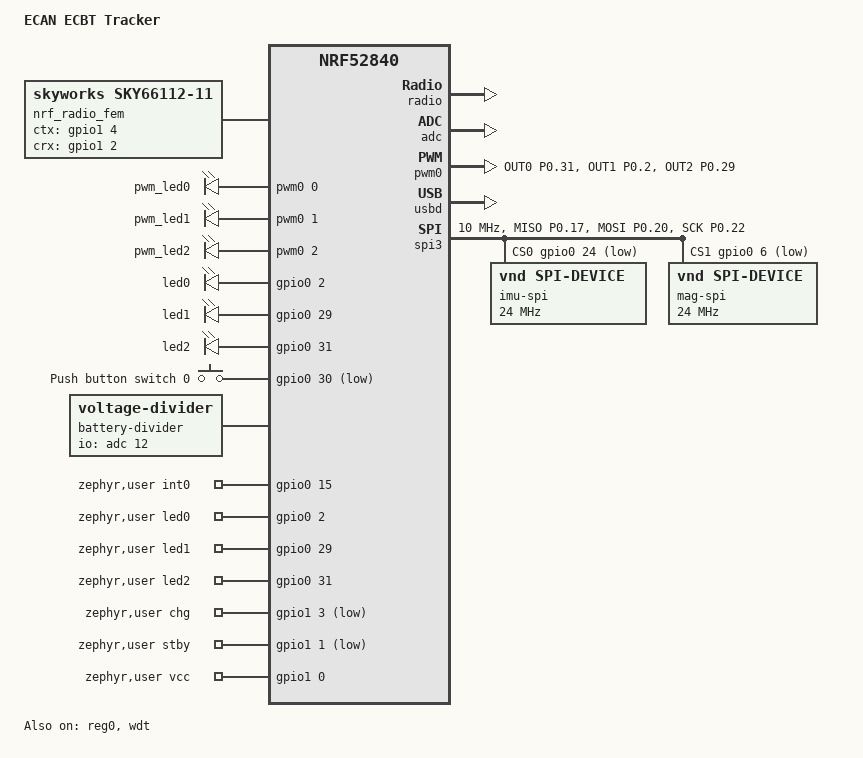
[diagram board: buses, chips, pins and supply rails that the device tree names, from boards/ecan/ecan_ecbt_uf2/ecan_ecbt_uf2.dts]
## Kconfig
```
#
# Copyright (c) 2023 Nordic Semiconductor
#
# SPDX-License-Identifier: LicenseRef-Nordic-5-Clause
#

config USE_SLIMENRF_CONSOLE
    bool "Use basic console"
    default y
    help
        Use basic console for commands.

choice
	prompt "Battery voltage mapping"
    default BATTERY_USE_REG_LDO_MAPPING

config BATTERY_USE_REG_BUCK_MAPPING
    bool "Use buck regulator mapping (3.7V battery, DCDC)"
    help
      Use a constant power mapping for battery voltage.
      Preffered for systems with a buck regulator.
      Measured at a system voltage of 3.0V.

config BATTERY_USE_REG_LDO_MAPPING
    bool "Use LDO linear regulator mapping (3.7V battery, LDO)"
    help
      Use a constant current mapping for battery voltage.
      Preferred for systems with a linear regulator.

config BATTERY_NO_MAPPING
    bool "Disable battery voltage mapping"
    help
      Always map to 100% battery. Disables battery monitoring.

endchoice

choice
	prompt "Status LED color mapping"
    default LED_TRI_COLOR

config LED_RGB_COLOR
    bool "Use RGB color mapping"
    help
        Use RGB or RG color mapping for LED status if available.

config LED_TRI_COLOR
    bool "Use default color mapping"
    help
        Use the default color mapping for LED status.

endchoice

menu "Status LED default status color"
    depends on LED_RGB_COLOR

config LED_DEFAULT_COLOR_R
    int "Red value"
    range 0 10000
    default 4000
    depends on LED_RGB_COLOR
    help
        Red color for default status.
        Valid range is 0 to 10000.

config LED_DEFAULT_COLOR_G
    int "Green value"
    range 0 10000
    default 6000
    depends on LED_RGB_COLOR
    help
        Green color for default status.
        Valid range is 0 to 10000.

config LED_DEFAULT_COLOR_B
    int "Blue value"
    range 0 10000
    default 0
    depends on LED_RGB_COLOR
    help
        Blue color for default status.
        Valid range is 0 to 10000.

endmenu

config USER_EXTRA_ACTIONS
    bool "Multiple press actions"
    help
        Allow user to use multiple presses to calibrate, pair, or enter DFU.
        When enabled, sw0 long-hold pairing reset is disabled; use the
        multiple-press pairing action instead.
        By default, DFU is available when holding down sw0 and plugging in a USB cable.

config IGNORE_RESET
    bool "Ignore reset"
    default y
    help
        If sw0 is available, don't perform any extra actions on reset.

config USER_SHUTDOWN
    bool "User shutdown support"
    default y
    help
        Allow user to use reset or sw0 to shutdown.

config IGNORE_CHARGE_WAKE_ON_VBUS
    bool "Ignore charge wake on VBUS"
    default n
    depends on USER_SHUTDOWN
    help
        When VBUS is present, do not configure charge status pins as wake
        sources during system shutdown. This keeps charge state transitions
        from waking the device while USB power is already connected.

config USE_IMU_WAKE_UP
    bool "IMU wake up support"
    default n
    help
        Use IMU wake up state if IMU wake up is present.

config DELAY_SLEEP_ON_STATUS
    bool "Delay IMU wake up mode on status flags"
    default y
    depends on USE_IMU_WAKE_UP
    help
        Delay IMU wake up state if there is an active status flag or in pairing mode.

config WOM_USE_DCDC
    bool "Use DCDC in IMU wake up mode"
    depends on USE_IMU_WAKE_UP
    help
        Use DCDC instead of LDO in IMU wake up state if it is more efficient.

config CONNECTION_TIMEOUT_DELAY
    int "Connection timeout delay (ms)"
    default 300000
    depends on USER_SHUTDOWN
    help
        Connection timeout duration when receiver is not detected.

choice
    prompt "Sensor rotation"
    default SENSOR_ROTATION_90

config SENSOR_ROTATION_0
    bool "0 degrees"

config SENSOR_ROTATION_90
    bool "90 degrees"

config SENSOR_ROTATION_180
    bool "180 degrees"

config SENSOR_ROTATION_270
    bool "270 degrees"

config SENSOR_ROTATION_0_FLIPPED
    bool "0 degrees flipped"

config SENSOR_ROTATION_90_FLIPPED
    bool "90 degrees flipped"

config SENSOR_ROTATION_180_FLIPPED
    bool "180 degrees flipped"

config SENSOR_ROTATION_270_FLIPPED
    bool "270 degrees flipped"

endchoice

menu "Sensor power saving"

config SENSOR_LP_TIMEOUT
    int "Sensor low power delay (ms)"
    default 500
    help
        Low power timeout during no motion.

config SENSOR_USE_LOW_POWER_2
    bool "Use additional low power modes"
    help
        Use a higher latency sensor mode during no motion.

config USE_IMU_TIMEOUT
    bool "Use IMU wake up state"
    default y
    depends on USE_IMU_WAKE_UP
    help
        Use IMU wake up state during no motion.

config IMU_TIMEOUT_RAMP_MIN
    int "Sensor timeout minimum delay (ms)"
    default 5000
    depends on USE_IMU_TIMEOUT || SENSOR_USE_LOW_POWER_2
    help
        Minimum timeout during no motion. Initial period on wake up.

config IMU_TIMEOUT_RAMP_MAX
    int "Sensor timeout maximum delay (ms)"
    default 15000
    depends on USE_IMU_TIMEOUT || SENSOR_USE_LOW_POWER_2
    help
        Maximum timeout during no motion.

config USE_ACTIVE_TIMEOUT
    bool "Use activity timeout"
    default y
    depends on USE_IMU_WAKE_UP || USER_SHUTDOWN
    help
        Delay IMU wake up state or user shutdown during activity.

choice
    prompt "Activity timeout mode"
    default SLEEP_ON_ACTIVE_TIMEOUT
    depends on USE_ACTIVE_TIMEOUT

config SLEEP_ON_ACTIVE_TIMEOUT
    bool "IMU wake up"
    depends on USE_IMU_WAKE_UP
    help
        Use IMU wake up state when activity timeout elapses.

config SHUTDOWN_ON_ACTIVE_TIMEOUT
    bool "User shutdown"
    depends on USER_SHUTDOWN
    help
        Use user shutdown when activity timeout elapses.

endchoice

config ACTIVE_TIMEOUT_THRESHOLD
    int "Activity timeout threshold (ms)"
    default 15000
    depends on USE_ACTIVE_TIMEOUT
    help
        Trigger activity timeout after a certain threshold of activity.

config ACTIVE_TIMEOUT_DELAY
    int "Activity timeout delay (ms)"
    default 1800000
    depends on USE_ACTIVE_TIMEOUT
    help
        Activity timeout duration when triggered.

config DISABLE_SENSOR_GPIOS_ON_SHUTDOWN
    bool "Disable Sensor GPIOs on shutdown"
    default y
    help
        Disable all sensor related GPIOs when system shutdown.
        May reduce power consumption.

endmenu

config SENSOR_ACCEL_ODR
    int "Accelerometer output data rate (Hz)"
    default 100
    help
        Requested accelerometer output data rate. Actual rate will be raised to the nearest supported rate.
        A higher rate will increase the time to read and process sensor data.

config SENSOR_GYRO_ODR
    int "Gyrometer output data rate (Hz)"
    default 200
    help
        Requested gyrometer output data rate. Actual rate will be raised to the nearest supported rate.
        A higher rate will increase the time to read and process sensor data.
        A lower rate is recommended for IMUs with poor gyrometer rate noise density. (Ex. BMI270, LSM6DS3TR-C)

config SENSOR_GYRO_OVERSAMPLING
    int "Gyroscope oversampling factor"
    default 1
    range 1 16
    help
        Number of gyroscope samples to average before fusion.
        Set to 1 to disable oversampling.
        For example, set SENSOR_GYRO_ODR=1600 and SENSOR_GYRO_OVERSAMPLING=4
        to achieve effective 400Hz with noise reduction from 4x oversampling.
        The effective gyro rate for fusion will be ODR / oversampling factor.

config SENSOR_ACCEL_OVERSAMPLING
    int "Accelerometer oversampling factor"
    default 1
    range 1 16
    help
        Number of accelerometer samples to average before fusion.
        Set to 1 to disable oversampling.
        For example, set SENSOR_ACCEL_ODR=1000 and SENSOR_ACCEL_OVERSAMPLING=10
        to achieve effective 100Hz with noise reduction from 10x oversampling.
        The effective accel rate for fusion will be ODR / oversampling factor.

config SENSOR_ACCEL_FS
    int "Accelerometer full scale (g)"
    default 16
    help
        Requested accelerometer full scale. Actual scale will be raised to the nearest supported scale.
        A lower scale may improve noise performance, but is more likely to saturate.

config SENSOR_GYRO_FS
    int "Gyrometer full scale (dps)"
    default 4000
    help
        Requested gyrometer full scale. Actual scale will be raised to the nearest supported scale.
        A lower scale may improve noise performance, but is more likely to saturate.

config SENSOR_MAG_ODR
    int "Magnetometer ODR (Hz)"
    default 200
    help
        Requested magnetometer output data rate in Hz.
        Common values: 100, 200. Higher rates may not be supported by all sensors.

config SENSOR_MAG_FIXED_ODR
    bool "Use fixed magnetometer ODR"
    default y
    help
        If enabled, use a fixed magnetometer ODR instead of dynamic adjustment.
        This ensures VQF fusion receives consistent timing information.
        When disabled, ODR is dynamically adjusted based on gyroscope speed.

choice
	prompt "Sensor fusion"
    default SENSOR_USE_VQF
    help
        Select the sensor fusion method.

config SENSOR_USE_VQF
    bool "Use VQF"
    help
        Use VQF for sensor fusion.
        Based on Kalman filter.

config SENSOR_USE_EQF
    bool "Use EqF"
    help
        Use ABC-EqF n=0 (Equivariant Filter) for sensor fusion.
        Kalman filter on SO(3)×R³ with constant magnetometer trust.
        Lower heading drift than VQF under low magnetic disturbance,
        but does not perform as well as the VQF on 6D.

endchoice

config VQF_ADAPTIVE_TAU_ACC
    bool "VQF adaptive tauAcc (experimental)"
    default n
    depends on SENSOR_USE_VQF
    help
        Enable adaptive tauAcc adjustment based on motion intensity.
        Uses a three-regime strategy (rest / gentle / aggressive) with
        smoothed transitions to avoid Butterworth LP filter transients.
        This feature is experimental and may affect heading stability.

config VQF_BENCH
    bool "Enable VQF benchmark console command"
    default n
    depends on SENSOR_USE_VQF && USE_SLIMENRF_CONSOLE
    help
        Compile in the `vqfbench` console command and its benchmark working
        storage. Keep this disabled for normal firmware builds to avoid the
        extra RAM cost from static benchmark buffers.

config SENSOR_USE_6_SIDE_CALIBRATION
    bool "Use 6-side calibration"
    default y
    depends on USE_SLIMENRF_CONSOLE
    help
        Use 6-side calibration for accelerometer.
        Calibration can be completed through the basic console.

config SENSOR_USE_SENS_CALIBRATION
    bool "Use gyro sensitivity calibration"
    default y
    depends on USE_SLIMENRF_CONSOLE
    help
        Use sensitivity calibration for gyroscope.
        There are two ways to calibrate from the console:
        - Manual: rotate the tracker a number of times around each axis, note the
          resulting yaw drift in degrees, and enter the three observed values with
          'sens <x>,<y>,<z>'.
        - Automated: run 'sens auto <x|y|z> [revolutions]' and spin the tracker the
          requested number of full turns about one axis; the firmware integrates the
          gyro rate and computes the scale factor for that axis automatically.

config SENSOR_SENS_REV
    int "Number of rotations (rev)"
    default 2
    depends on SENSOR_USE_SENS_CALIBRATION
    help
       Number of rotations used in calculating sensitivity calibration.

config SENSOR_USE_TCAL
    bool "Enable temperature calibration (T-Cal)"
    default y
    help
        Enable temperature calibration (T-Cal) support.
        This controls whether the firmware collects/uses temperature-related
        calibration data to compensate gyroscope bias drift.

menu "Temperature Calibration Settings"
depends on SENSOR_USE_TCAL

config SENSOR_POLY_DEGREE
    int "Polynomial degree"
    default 3
    help
        The degree of the polynomial to fit (e.g., 3 for a cubic curve).

config SENSOR_POLY_TEMP_MIN
    int "Calibration minimum temperature (C)"
    default 10

config SENSOR_POLY_TEMP_MAX
    int "Calibration maximum temperature (C)"
    default 45

config SENSOR_POLY_STEPS_PER_DEGREE
    int "Calibration steps per degree C"
    default 2
    help
        Enter the number of calibration points to take per degree Celsius.
        For 0.5 C steps, enter 2.
        For 1.0 C steps, enter 1.

config SENSOR_USE_BOOT_CALIBRATION
    bool "Enable automatic boot calibration"
    default n
    depends on SENSOR_USE_TCAL
    help
        Automatically perform boot calibration after device startup.
        When enabled, the device will measure gyroscope bias at boot time
        and calculate D_offset correction based on the temperature calibration
        curve. This helps compensate for run-to-run bias drift.
        Boot calibration occurs within 15-50 seconds after boot when the
        device is stationary and requires at least 4 temperature calibration
        points to be effective.

endmenu

config SENSOR_ONLINE_MAG_CAL
    bool "Enable online (background) magnetometer calibration"
    default y
    help
        Enable background/online magnetometer calibration that continuously
        refines the hard/soft-iron fit during normal operation.
        When disabled, only the manual 'mag cal' / 'calibrate' command is
        available; the online accumulator and background checks are inert.

config SENSOR_MAG_CAL_MIN_SAMPLES
    int "Manual magnetometer calibration minimum sample count"
    default 128
    range 32 4096
    help
        Minimum number of accepted samples before manual magnetometer
        calibration ('mag cal') can complete. Progress LED coverage uses
        this value as the denominator.
        Override per board in that board's *_defconfig (e.g.
        CONFIG_SENSOR_MAG_CAL_MIN_SAMPLES=256) or in the board Kconfig
        fragment with a board-specific default.

config RADIO_TX_POWER
    int "Radio output power (dBm)"
    default 8
    help
        Radio output power level.
        A lower value may reduce power consumption.

config RADIO_RF_CHANNEL
    int "Radio RF channel"
    default 2
    help
        Radio RF channel (0-100).
        Must match the receiver channel.

config RADIO_RETRANSMIT_DELAY
    int "Radio retransmit delay (µs)"
    default 600
    help
        Radio retransmit delay.

config CONNECTION_ENABLE_ACK
    bool "Enable connection ACK"
    default y
    help
        Enable connection ACK for reliable data transfer.

config CONNECTION_OVER_HID
    bool "Use HID for data output"
    depends on USB_DEVICE_STACK_NEXT && USBD_HID_SUPPORT && UART_CONSOLE
    default n
    help
        Use HID if available.
        Otherwise, use ESB only.

config SLIMEVR_USB_DEVICE_VID
    hex "SlimeVR USB vendor ID"
    default 0x1209
    help
        USB vendor ID used by the SlimeVR USBD_NEXT device.

config SLIMEVR_USB_DEVICE_PID
    hex "SlimeVR USB product ID"
    default 0x7692
    help
        USB product ID used by the SlimeVR tracker firmware.

config SLIMEVR_USB_DEVICE_MANUFACTURER
    string "SlimeVR USB manufacturer"
    default "SlimeVR"
    help
        USB manufacturer string and console banner prefix.

config SLIMEVR_USB_DEVICE_PRODUCT
    string "SlimeVR USB product"
    default "SlimeNRF Tracker"
    help
        USB product string and console banner name.

config SLIMEVR_USB_DEVICE_MAX_POWER
    int "SlimeVR USB max power"
    range 0 250
    default 100
    help
        USB bMaxPower value in 2 mA units.

config CLOCK_USE_LFXO
    bool "Use external low-frequency crystal oscillator (LFXO)"
    default y
    help
        Enable external 32.768 kHz crystal oscillator for LF clock.
        This provides better TDMA timing precision.

        Disable this option if your board does not have an external
        LFXO crystal. Using LFXO without a crystal will cause the
        system to hang or IMU detection to fail.

config CONNECTION_TDMA
    bool "Enable TDMA transmit scheduling"
    default n if !CLOCK_USE_LFXO
    default y if CLOCK_USE_LFXO
    help
        Enable Time Division Multiple Access scheduling for ESB radio.
        When enabled, each tracker transmits only within its assigned
        time slot to avoid collisions with other trackers.
        Requires server time synchronization via PING/PONG.
        Can also be toggled at runtime via console command.

config CLOCK_USE_LF_SYNTH
    bool "Use LF synthesizer for low-frequency clock"
    default y if CONNECTION_TDMA && !CLOCK_USE_LFXO
    default n
    help
        Use the LF synthesizer (derived from HFXO) for the low-frequency
        clock instead of LFXO or LFRC.

config CLOCK_CONTROL_NRF_K32SRC_RC_CALIBRATION
    bool "Enable RC oscillator calibration for K32SRC"
    default y if CLOCK_USE_LF_SYNTH && CONNECTION_TDMA
    default n

source "Kconfig.zephyr"
```

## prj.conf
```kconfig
#CONFIG_NCS_SAMPLES_DEFAULTS
CONFIG_ASSERT=y
CONFIG_ASSERT_NO_COND_INFO=y
CONFIG_ASSERT_NO_MSG_INFO=y
CONFIG_RESET_ON_FATAL_ERROR=y

CONFIG_NCS_APPLICATION_BOOT_BANNER_STRING="SlimeVR-Tracker-nRF"
#CONFIG_NCS_BOOT_BANNER=n
CONFIG_BOOT_BANNER=n

CONFIG_LTO=y
CONFIG_ISR_TABLES_LOCAL_DECLARATION=y

CONFIG_ESB=y
#need to enable for nRF54L
#CONFIG_NRFX_DPPI10=y

CONFIG_ADC=y
CONFIG_ADC_NRFX_SAADC=y
CONFIG_FPU=y

# CMSIS-DSP Configuration for VQF optimization
CONFIG_CMSIS_DSP=y
CONFIG_CMSIS_DSP_FASTMATH=y
CONFIG_CMSIS_DSP_BASICMATH=y
CONFIG_CMSIS_DSP_MATRIX=y
CONFIG_CMSIS_DSP_QUATERNIONMATH=y
CONFIG_CMSIS_DSP_SUPPORT=y
CONFIG_CMSIS_DSP_CONTROLLER=y
CONFIG_DSP=y

CONFIG_I2C=y
CONFIG_SPI=y
CONFIG_PINCTRL=y

CONFIG_NVS=y
CONFIG_NVS_LOOKUP_CACHE=y
CONFIG_NVS_INIT_BAD_MEMORY_REGION=y

CONFIG_POWEROFF=y
CONFIG_REBOOT=y

CONFIG_FLASH=y
CONFIG_FLASH_PAGE_LAYOUT=y
CONFIG_FLASH_MAP=y

CONFIG_SETTINGS=y
CONFIG_SETTINGS_RUNTIME=y
CONFIG_SETTINGS_NONE=y

CONFIG_MPU_ALLOW_FLASH_WRITE=y

CONFIG_RETAINED_MEM=y

CONFIG_USE_SEGGER_RTT=y
CONFIG_LOG=y
#CONFIG_PRINTK=y
CONFIG_LOG_MODE_DEFERRED=y
CONFIG_LOG_SPEED=y
CONFIG_LOG_BACKEND_RTT=y
CONFIG_CBPRINTF_FP_SUPPORT=y
CONFIG_ADC_LOG_LEVEL_OFF=y
CONFIG_LOG_FUNC_NAME_PREFIX_ERR=y
CONFIG_LOG_BUFFER_SIZE=4096
CONFIG_LOG_BACKEND_UART_AUTOSTART=n
CONFIG_LOG_PROCESS_THREAD_SLEEP_MS=25
CONFIG_LOG_PROCESS_THREAD_STACK_SIZE=1024

CONFIG_PWM=y
CONFIG_GPIO=y

CONFIG_CRC=y

CONFIG_NEWLIB_LIBC=y
# CONFIG_NRFX_TIMER1=y

#speed up boot? (use internal rc oscillator)
CONFIG_CLOCK_CONTROL_NRF_K32SRC_RC=y
CONFIG_CLOCK_CONTROL_NRF_K32SRC_20PPM=y

# dont need it
CONFIG_CRYPTO=n

# set timeout for 25ms, sufficient for ~1000 bytes
CONFIG_I2C_NRFX_TRANSFER_TIMEOUT=25

CONFIG_USB_DEVICE_STACK_NEXT=y
CONFIG_USBD_CDC_ACM_CLASS=y
CONFIG_CDC_ACM_SERIAL_INITIALIZE_AT_BOOT=n
CONFIG_SLIMEVR_USB_DEVICE_VID=0x1209
CONFIG_SLIMEVR_USB_DEVICE_PID=0x7692
CONFIG_UART_INTERRUPT_DRIVEN=y

CONFIG_SERIAL=y
CONFIG_CONSOLE=y
CONFIG_RTT_CONSOLE=y
CONFIG_UART_CONSOLE=y
CONFIG_UART_LINE_CTRL=y

CONFIG_LOG=y
CONFIG_USBD_LOG_LEVEL_ERR=y
CONFIG_UDC_DRIVER_LOG_LEVEL_ERR=y
CONFIG_USBD_CDC_ACM_LOG_LEVEL_OFF=y

CONFIG_LOG_BACKEND_UART=y

CONFIG_CONSOLE_SUBSYS=y
CONFIG_CONSOLE_GETLINE=y

CONFIG_NVS_LOG_LEVEL_WRN=y

CONFIG_SYSTEM_WORKQUEUE_STACK_SIZE=512
CONFIG_MAIN_STACK_SIZE=2048
#crashing on nrf54l at 512

CONFIG_THREAD_NAME=y

# TODO: because of icm426, this will break things and needs to be raised to at least 3k
CONFIG_HEAP_MEM_POOL_SIZE=4096
CONFIG_ISR_STACK_SIZE=1024
CONFIG_UDC_BUF_POOL_SIZE=4096

CONFIG_PM_DEVICE=y


CONFIG_USE_ACTIVE_TIMEOUT=y

# 100ms switch delay will be obvious to users, so we choose not to use it by default,
# but it can be enabled for testing or specific use cases
CONFIG_SENSOR_USE_LOW_POWER_2=n

# control low power mode
# due to current mag reading is process in sensor loop,
# low power mode will cause mag reading isn't at target odr,
# so currently it should be disabled by default
CONFIG_USE_IMU_TIMEOUT=y
# a very large low power timeout (1h) to prevent it from triggering
CONFIG_SENSOR_LP_TIMEOUT=3600000

# 135 seconds timeout with wake on motion
# CONFIG_ACTIVE_TIMEOUT_DELAY=13500
# CONFIG_USE_IMU_WAKE_UP=y

# or 9 hours timeout
CONFIG_ACTIVE_TIMEOUT_DELAY=32400000
CONFIG_USE_IMU_WAKE_UP=n

CONFIG_USER_EXTRA_ACTIONS=y
CONFIG_DISABLE_SENSOR_GPIOS_ON_SHUTDOWN=y

CONFIG_ESB_MAX_PAYLOAD_LENGTH=72
CONFIG_ESB_TX_FIFO_SIZE=8
CONFIG_ESB_RX_FIFO_SIZE=8
CONFIG_RADIO_RF_CHANNEL=84
CONFIG_RADIO_RETRANSMIT_DELAY=310
CONFIG_CONNECTION_ENABLE_ACK=n
CONFIG_RADIO_TX_POWER=8
# 3 minutes timeout after ping continuous failed
CONFIG_CONNECTION_TIMEOUT_DELAY=180000

CONFIG_SENSOR_USE_6_SIDE_CALIBRATION=y
CONFIG_SENSOR_USE_SENS_CALIBRATION=y
CONFIG_SENSOR_SENS_REV=5

CONFIG_SENSOR_USE_TCAL=y

# Boot calibration is disabled by default
# CONFIG_SENSOR_USE_BOOT_CALIBRATION=y

# Range statistics tracking (disabled by default to optimize performance)
# CONFIG_SENSOR_RANGE_STATS=y

# CONFIG_SENSOR_GYRO_ODR=400
# oversampling and odr settings
# icm45 800, dsv 960
CONFIG_SENSOR_GYRO_ODR=400
# icm45 ~200, dsv ~240
# CONFIG_SENSOR_GYRO_OVERSAMPLING=4
# icm45 800, dsv 960
# CONFIG_SENSOR_ACCEL_ODR=800
# icm45 ~100, dsv ~120
# CONFIG_SENSOR_ACCEL_OVERSAMPLING=8
CONFIG_SENSOR_MAG_ODR=50
CONFIG_SENSOR_MAG_FIXED_ODR=y

# VQF experimental features
# CONFIG_VQF_ADAPTIVE_TAU_ACC=y

# Watchdog Configuration
CONFIG_WATCHDOG=y
CONFIG_WDT_NRFX=y
CONFIG_TASK_WDT=y
CONFIG_TASK_WDT_CHANNELS=8
CONFIG_TASK_WDT_HW_FALLBACK=y
CONFIG_TASK_WDT_HW_FALLBACK_DELAY=5000

# enable tdma on board which don't have lfxo, it can use lf clock synthesized by hf clock,
# but it will increase a lot of power consumption, so if you want to use it, you can enable below config,
# or define it in board level Kconfig file.

# CONFIG_CLOCK_USE_LFXO=n
CONFIG_CONNECTION_TDMA=y

# Enable VQF benchmark mode for performance testing (disabled by default)
# CONFIG_VQF_BENCH=y
```

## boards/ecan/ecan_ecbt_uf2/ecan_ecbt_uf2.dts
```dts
// Copyright (c) 2024 Nordic Semiconductor ASA
// SPDX-License-Identifier: Apache-2.0

/dts-v1/;
#include <nordic/nrf52840_qiaa.dtsi>

//move to dtsi?
&pinctrl {

	pwm0_default: pwm0_default {
		group1 {
			psels = <NRF_PSEL(PWM_OUT0, 0, 31)>, // Red
					<NRF_PSEL(PWM_OUT1, 0, 2)>, // Green
					<NRF_PSEL(PWM_OUT2, 0, 29)>; // Blue
			nordic,drive-mode = <NRF_DRIVE_D0S1>;
			nordic,invert;
		};
	};

	pwm0_sleep: pwm0_sleep {
		group1 {
			psels = <NRF_PSEL(PWM_OUT0, 0, 31)>, // Red
					<NRF_PSEL(PWM_OUT1, 0, 2)>, // Green
					<NRF_PSEL(PWM_OUT2, 0, 29)>; // Blue
			low-power-enable;
		};
	};

	spi3_default: spi3_default {
		group1 {
			psels = <NRF_PSEL(SPIM_MISO, 0, 17)>,
					<NRF_PSEL(SPIM_MOSI, 0, 20)>,
					<NRF_PSEL(SPIM_SCK, 0, 22)>;
		};
	};

	spi3_sleep: spi3_sleep {
		group1 {
			psels = <NRF_PSEL(SPIM_MISO, 0, 17)>,
					<NRF_PSEL(SPIM_MOSI, 0, 20)>,
					<NRF_PSEL(SPIM_SCK, 0, 22)>;
			low-power-enable;
		};
	};
};
//end

/ {
	model = "ECAN ECBT Tracker";
	compatible = "ecan_ecbt_uf2";

	chosen {
		zephyr,sram = &sram0;
		zephyr,flash = &flash0;
		zephyr,console = &cdc_acm_uart0;
		zephyr,shell-uart = &cdc_acm_uart0;
	};

	nrf_radio_fem: skyFem {
		compatible = "skyworks,sky66112-11", "generic-fem-two-ctrl-pins";
		ctx-gpios = <&gpio1 4 GPIO_ACTIVE_HIGH>;
		ctx-settle-time-us = <23>;
		crx-gpios = <&gpio1 2 GPIO_ACTIVE_HIGH>;
		crx-settle-time-us = <8>;
		tx-gain-db = <22>;
		rx-gain-db = <12>;
	};

	pwmleds {
		compatible = "pwm-leds";
		pwm_led0: pwm_led_0 {
			pwms = <&pwm0 0 PWM_MSEC(1) PWM_POLARITY_NORMAL>;
		};
		pwm_led1: pwm_led_1 {
			pwms = <&pwm0 1 PWM_MSEC(1) PWM_POLARITY_NORMAL>;
		};
		pwm_led2: pwm_led_2 {
			pwms = <&pwm0 2 PWM_MSEC(1) PWM_POLARITY_NORMAL>;
		};
	};
	leds {
		compatible = "gpio-leds";
		led0: led_0 {
			gpios = <&gpio0 2 GPIO_OPEN_SOURCE>;
		};
		led1: led_1 {
			gpios = <&gpio0 29 GPIO_OPEN_SOURCE>;
		};
		led2: led_2 {
			gpios = <&gpio0 31 GPIO_OPEN_SOURCE>;
		};
	};

	buttons {
		compatible = "gpio-keys";
		button0: button_0 {
			gpios = <&gpio0 30 (GPIO_PULL_UP | GPIO_ACTIVE_LOW)>;
			label = "Push button switch 0";
		};
	};

	aliases {
		sw0 = &button0;
		pwm-led0 = &pwm_led0;
		pwm-led1 = &pwm_led1;
		pwm-led2 = &pwm_led2;
		led0 = &led0;
		led1 = &led1;
		led2 = &led2;
	};

	battery-divider {
		compatible = "voltage-divider";
		status = "okay";
		io-channels = <&adc 12>; // Measure VDDHDIV5
		output-ohms = <1>;
		full-ohms = <5>;
	};

	zephyr,user {
		int0-gpios = <&gpio0 15 0>;
		led0-gpios = <&gpio0 2 (GPIO_OPEN_SOURCE)>;
		led1-gpios = <&gpio0 29 (GPIO_OPEN_SOURCE)>;
		led2-gpios = <&gpio0 31 (GPIO_OPEN_SOURCE)>;
		chg-gpios = <&gpio1 3 (GPIO_ACTIVE_LOW | GPIO_PULL_UP)>;
		stby-gpios = <&gpio1 1 (GPIO_ACTIVE_LOW | GPIO_PULL_UP)>;
		vcc-gpios = <&gpio1 0 0>;
	};

};

&reg0 {
	status = "okay";
};

&reg1 {
	regulator-initial-mode = <NRF5X_REG_MODE_DCDC>;
};

&radio {
	fem = <&nrf_radio_fem>;
};

&adc {
	status = "okay";
};

&gpiote {
	status = "okay";
};

&gpio0 {
	status = "okay";
};

&gpio1 {
	status = "okay";
};

&pwm0 {
	status = "okay";
	pinctrl-0 = <&pwm0_default>;
	pinctrl-1 = <&pwm0_sleep>;
	pinctrl-names = "default", "sleep";
};

zephyr_udc0: &usbd {
	compatible = "nordic,nrf-usbd";
	status = "okay";
	cdc_acm_uart0: cdc_acm_uart0 {
		compatible = "zephyr,cdc-acm-uart";
	};
};

&wdt {
	status = "okay";
};

&cryptocell {
	status = "disabled";
};

&nfct {
	status = "disabled";
};

&spi3 {
	compatible = "nordic,nrf-spim";
	status = "okay";
	max-frequency = <DT_FREQ_M(24)>;
	pinctrl-0 = <&spi3_default>;
	pinctrl-1 = <&spi3_sleep>;
	pinctrl-names = "default", "sleep";
	clock-frequency = < DT_FREQ_M(10) >;
	cs-gpios = <&gpio0 24 GPIO_ACTIVE_LOW>,
			   <&gpio0 6 GPIO_ACTIVE_LOW>;

	imu_spi: imu_spi@0 {
		status = "okay";
		compatible = "vnd,spi-device";
		spi-max-frequency = <DT_FREQ_M(24)>;
		label = "imu-spi";
		reg = <0>;
	};

	mag_spi: mag_spi@1 {
		status = "okay";
		compatible = "vnd,spi-device";
		spi-max-frequency = <DT_FREQ_M(24)>;
		label = "mag-spi";
		reg = <1>;
	};
};
```

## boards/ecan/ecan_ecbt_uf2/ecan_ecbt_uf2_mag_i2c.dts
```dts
// Copyright (c) 2024 Nordic Semiconductor ASA
// SPDX-License-Identifier: Apache-2.0

/dts-v1/;
#include "ecan_ecbt_uf2.dts"

/delete-node/ &mag_spi;

&pinctrl {
	i2c0_default: i2c0_default {
		group1 {
			psels = <NRF_PSEL(TWIM_SDA, 0, 5)>,
					<NRF_PSEL(TWIM_SCL, 0, 27)>;
			bias-disable;
		};
	};

	i2c0_sleep: i2c0_sleep {
		group1 {
			psels = <NRF_PSEL(TWIM_SDA, 0, 5)>,
					<NRF_PSEL(TWIM_SCL, 0, 27)>;
			bias-disable;
			low-power-enable;
		};
	};
};

&i2c0 {
	compatible = "nordic,nrf-twim";
	status = "okay";
	zephyr,concat-buf-size = <1023>;
	zephyr,flash-buf-max-size = <1023>;
	clock-frequency = <I2C_BITRATE_FAST>;
	pinctrl-0 = <&i2c0_default>;
	pinctrl-1 = <&i2c0_sleep>;
	pinctrl-names = "default", "sleep";

	mag: mag@0 {
		compatible = "i2c-device";
		label = "mag";
		reg = <0>;
	};
};
```

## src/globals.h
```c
/*
	SlimeVR Code is placed under the MIT license
	Copyright (c) 2025 SlimeVR Contributors

	Permission is hereby granted, free of charge, to any person obtaining a copy
	of this software and associated documentation files (the "Software"), to deal
	in the Software without restriction, including without limitation the rights
	to use, copy, modify, merge, publish, distribute, sublicense, and/or sell
	copies of the Software, and to permit persons to whom the Software is
	furnished to do so, subject to the following conditions:

	The above copyright notice and this permission notice shall be included in
	all copies or substantial portions of the Software.

	THE SOFTWARE IS PROVIDED "AS IS", WITHOUT WARRANTY OF ANY KIND, EXPRESS OR
	IMPLIED, INCLUDING BUT NOT LIMITED TO THE WARRANTIES OF MERCHANTABILITY,
	FITNESS FOR A PARTICULAR PURPOSE AND NONINFRINGEMENT. IN NO EVENT SHALL THE
	AUTHORS OR COPYRIGHT HOLDERS BE LIABLE FOR ANY CLAIM, DAMAGES OR OTHER
	LIABILITY, WHETHER IN AN ACTION OF CONTRACT, TORT OR OTHERWISE, ARISING FROM,
	OUT OF OR IN CONNECTION WITH THE SOFTWARE OR THE USE OR OTHER DEALINGS IN
	THE SOFTWARE.
*/
#ifndef SLIMENRF_GLOBALS
#define SLIMENRF_GLOBALS

#include <zephyr/logging/log.h>

#include "retained.h"

// Adafruit UF2 bootloader GPREGRET magic values.
// See: Adafruit_nRF52_Bootloader/src/main.c (DFU_MAGIC_*).
#define ADAFRUIT_DFU_MAGIC_UF2_RESET 0x57
#define ADAFRUIT_DFU_MAGIC_OTA_RESET 0xA8

#define USER_SHUTDOWN_ENABLED CONFIG_USER_SHUTDOWN // Allow user to use reset or sw0 to shutdown
#ifdef CONFIG_IGNORE_CHARGE_WAKE_ON_VBUS
#define IGNORE_CHARGE_WAKE_ON_VBUS 1
#else
#define IGNORE_CHARGE_WAKE_ON_VBUS 0
#endif
#define IGNORE_RESET CONFIG_IGNORE_RESET // If sw0 available, don't change any reset behavior
#define WOM_USE_DCDC CONFIG_WOM_USE_DCDC // Use DCDC instead of LDO for WOM if it is more efficient

/* Sensor gyroscope, accelerometer, and magnetometer axes should align to the IMU body axes.
 * SENSOR_QUATERNION_CORRECTION right-multiplies the fused sensor quaternion to align sensor axes
 * to the device/body axes following Android convention: Qdevice = Qfused * Qcorr.
 * SENSOR_QUATERNION_OUTPUT_BIAS left-multiplies only the reported quaternion to add an optional
 * preview/world-frame neutral-pose bias after device alignment: Qout = Qbias * Qdevice.
 * Sensor-frame vectors that are reported in local device coordinates (for example linear
 * acceleration and packet-4 magnetometer) should use the inverse/conjugate of Qcorr, because
 * they are active vector rotations rather than right-multiplied orientation composition.
 * This lets the preview/model pose be adjusted without changing the device-frame linear
 * acceleration basis, which continues to use only SENSOR_QUATERNION_CORRECTION.
 * The two transforms intentionally stay separate because left and right quaternion multiplies do
 * not generally commute.
 * On flat surface / face up:
 * Left from the perspective of the device / right from your perspective is +X
 * Front side (facing up) is +Z
 * Mounted on body / standing up:
 * Top side of the device is +Y
 * Front side (facing out) is +Z
 */

// TODO: not matching anymore
#if defined(CONFIG_BOARD_SLIMEVRMINI_P1_UF2) || defined(CONFIG_BOARD_SLIMEVRMINI_P2_UF2)
#define SENSOR_MAGNETOMETER_AXES_ALIGNMENT -mx, mz, -my
#endif
#if defined(CONFIG_BOARD_SLIMEVRMINI_P4_UF2)
#define SENSOR_MAGNETOMETER_AXES_ALIGNMENT my, -mx, -mz
#endif

#if defined(CONFIG_BOARD_FOXSMOL40_UF2)
#define SENSOR_GYROSCOPE_AXES_ALIGNMENT gx, gy, gz
#define SENSOR_ACCELEROMETER_AXES_ALIGNMENT ax, ay, az
#define SENSOR_MAGNETOMETER_AXES_ALIGNMENT my, mx, mz
#endif
#if defined(CONFIG_BOARD_FOXSMOLV1_SPI_UF2)
#define SENSOR_GYROSCOPE_AXES_ALIGNMENT gx, gy, gz
#define SENSOR_ACCELEROMETER_AXES_ALIGNMENT ax, ay, az
#endif

#if defined(CONFIG_BOARD_SLIMENRF_R1) || defined(CONFIG_BOARD_SLIMENRF_R2) || defined(CONFIG_BOARD_SLIMENRF_R3)
#define SENSOR_MAGNETOMETER_AXES_ALIGNMENT my, -mx, -mz
#endif

#if defined(CONFIG_BOARD_FOXSMOL40_UF2)
#define SENSOR_MAGNETOMETER_AXES_ALIGNMENT my, mx, mz
#endif

#ifdef CONFIG_SENSOR_ROTATION_0
#define SENSOR_QUATERNION_CORRECTION 1.0f, 0.0f, 0.0f, 0.0f
#elif defined(CONFIG_SENSOR_ROTATION_90)
#define SENSOR_QUATERNION_CORRECTION 0.70710678f, 0.0f, 0.0f, 0.70710678f
#elif defined(CONFIG_SENSOR_ROTATION_180)
#define SENSOR_QUATERNION_CORRECTION 0.0f, 0.0f, 0.0f, 1.0f
#elif defined(CONFIG_SENSOR_ROTATION_270)
#define SENSOR_QUATERNION_CORRECTION 0.70710678f, 0.0f, 0.0f, -0.70710678f
#elif defined(CONFIG_SENSOR_ROTATION_0_FLIPPED)
#define SENSOR_QUATERNION_CORRECTION 0.0f, 1.0f, 0.0f, 0.0f
#elif defined(CONFIG_SENSOR_ROTATION_90_FLIPPED)
#define SENSOR_QUATERNION_CORRECTION 0.0f, -0.70710678f, 0.70710678f, 0.0f
#elif defined(CONFIG_SENSOR_ROTATION_180_FLIPPED)
#define SENSOR_QUATERNION_CORRECTION 0.0f, 0.0f, 1.0f, 0.0f
#elif defined(CONFIG_SENSOR_ROTATION_270_FLIPPED)
#define SENSOR_QUATERNION_CORRECTION 0.0f, 0.70710678f, 0.70710678f, 0.0f
#endif

#if defined(CONFIG_BOARD_FOXSNACKLITEV2_UF2) || defined(CONFIG_BOARD_ECAN_ECBT_UF2)
#undef SENSOR_QUATERNION_CORRECTION
#define SENSOR_QUATERNION_CORRECTION 0.0f, 0.7071f, 0.7071f, 0.0f
#endif

#if defined(CONFIG_BOARD_ECAN_ECBT_UF2)
#define SENSOR_MAGNETOMETER_AXES_ALIGNMENT -mx, my, mz
#endif

// default orientation for most boards with the sensor mounted flat on the PCB
// with the top side as +X and front side as +Z and left side as +Y from your perspective
// on stacked promicro with common breakout board
#ifndef SENSOR_MAGNETOMETER_AXES_ALIGNMENT
#define SENSOR_MAGNETOMETER_AXES_ALIGNMENT mx, my, mz // mag axes alignment to sensor body
#endif
// not sure if this is needed or correct, it still seems weird in server without full reset, but leaving it for now
#ifndef SENSOR_QUATERNION_CORRECTION
#define SENSOR_QUATERNION_CORRECTION 1.0f, 0.0f, 0.0f, 0.0f
#endif
#ifndef SENSOR_QUATERNION_OUTPUT_BIAS
#define SENSOR_QUATERNION_OUTPUT_BIAS 1.0f, 0.0f, 0.0f, 0.0f
// Default identity bias lets the compiler elide the extra output-bias multiply entirely.
#define SENSOR_QUATERNION_OUTPUT_BIAS_IS_IDENTITY 1
#endif
#ifndef SENSOR_QUATERNION_OUTPUT_BIAS_IS_IDENTITY
// If a board explicitly defines SENSOR_QUATERNION_OUTPUT_BIAS as identity, set this to 1 too.
#define SENSOR_QUATERNION_OUTPUT_BIAS_IS_IDENTITY 0
#endif

#endif
```
